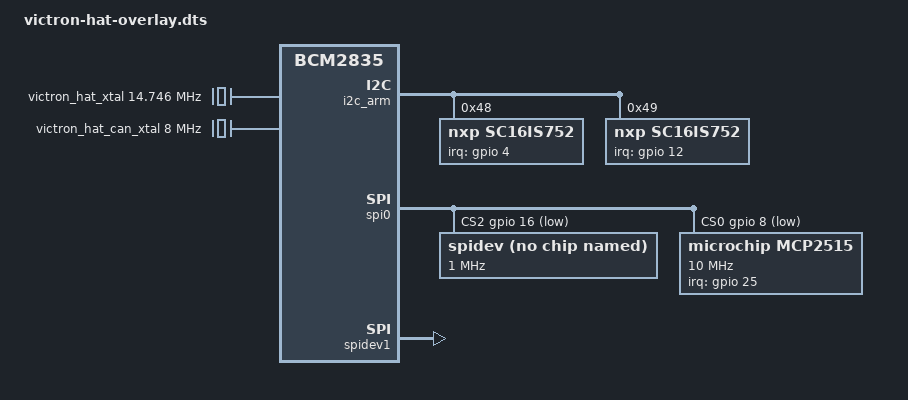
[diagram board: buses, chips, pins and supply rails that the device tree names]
/*
 * Victron Pi HAT v24.1 - device-tree overlay stored in the HAT ID EEPROM (IC801).
 * The Pi firmware applies it at boot, so /u-boot/config.txt needs no dtoverlay lines.
 *   I2C1 (GPIO2/3): SC16IS752 @0x48 (IRQ GPIO4)  -> ttySC0/ttySC1 (J301, J302)
 *                   SC16IS752 @0x49 (IRQ GPIO12) -> ttySC2/ttySC3 (J401, J402 RS485)
 *   SPI0 CE0:       MCP2515 (IRQ GPIO25)         -> can0 (J501 VE.Can)
 *   SPI0 CE1:       unused on board v28.0 (was the MCP3208 ADC1); spidev0.1 stays free
 *   SPI0 CE2:       unused on board v28.0 (was ADC2, CS = GPIO16); spidev0.2 stays free
 *   v29.4 crystals: both SC16IS752 = 14.7456 MHz (Y301, Y401), MCP2515 = 8 MHz (Y501).
 */
/dts-v1/;
/plugin/;

/ {
	compatible = "brcm,bcm2835";

	fragment@0 {
		target-path = "/";
		__overlay__ {
			victron_hat_xtal: victron_hat_xtal {
				compatible = "fixed-clock";
				#clock-cells = <0>;
				clock-frequency = <14745600>;	/* SC16IS752 Y301/Y401 */
			};
			victron_hat_can_xtal: victron_hat_can_xtal {
				compatible = "fixed-clock";
				#clock-cells = <0>;
				clock-frequency = <8000000>;	/* MCP2515 Y501 */
			};
		};
	};

	fragment@1 {
		target = <&gpio>;
		__overlay__ {
			victron_hat_uart_irq: victron_hat_uart_irq {
				brcm,pins = <4 12>;
				brcm,function = <0>;	/* input */
				brcm,pull = <2>;	/* pull-up */
			};
			victron_hat_can_irq: victron_hat_can_irq {
				brcm,pins = <25>;
				brcm,function = <0>;	/* input */
				brcm,pull = <0>;
			};
		};
	};

	fragment@2 {
		target = <&i2c_arm>;
		__overlay__ {
			#address-cells = <1>;
			#size-cells = <0>;
			status = "okay";

			sc16is752@48 {
				compatible = "nxp,sc16is752";
				reg = <0x48>;
				clocks = <&victron_hat_xtal>;
				interrupt-parent = <&gpio>;
				interrupts = <4 2>;	/* falling edge */
				pinctrl-names = "default";
				pinctrl-0 = <&victron_hat_uart_irq>;
				gpio-controller;
				#gpio-cells = <2>;
			};

			sc16is752@49 {
				compatible = "nxp,sc16is752";
				reg = <0x49>;
				clocks = <&victron_hat_xtal>;
				interrupt-parent = <&gpio>;
				interrupts = <12 2>;	/* falling edge */
				/* channel B = J402 RS485: RTSB drives SP3485 DE + /RE (active high).
				 * Auto RS-485 direction with RTS HIGH while sending = kernel
				 * "rts-active-low" (sets EFCR RTSINVER). Also applies to channel A
				 * (VE.Direct 3), whose RTSA pin is unused; rx-during-tx keeps it full duplex. */
				linux,rs485-enabled-at-boot-time;
				rs485-rts-active-low;
				rs485-rx-during-tx;
				gpio-controller;
				#gpio-cells = <2>;
			};
		};
	};

	fragment@3 {
		target = <&spidev0>;
		__overlay__ {
			status = "disabled";
		};
	};

	fragment@4 {
		target = <&spi0>;
		__overlay__ {
			#address-cells = <1>;
			#size-cells = <0>;
			status = "okay";
			cs-gpios = <&gpio 8 1>, <&gpio 7 1>, <&gpio 16 1>;	/* CE0, CE1, CE2 = GPIO16 (v27.2 MCP3204) */

			spidev@2 {
				compatible = "rohm,dh2228fv";	/* plain spidev -> /dev/spidev0.2 */
				reg = <2>;
				spi-max-frequency = <1000000>;
			};

			mcp2515@0 {
				compatible = "microchip,mcp2515";
				reg = <0>;
				pinctrl-names = "default";
				pinctrl-0 = <&victron_hat_can_irq>;
				spi-max-frequency = <10000000>;
				interrupt-parent = <&gpio>;
				interrupts = <25 8>;	/* level low */
				clocks = <&victron_hat_can_xtal>;
			};
		};
	};
	fragment@5 {
		target = <&spidev1>;
		__overlay__ {
			status = "okay";
			spi-max-frequency = <1000000>;
		};
	};
};
